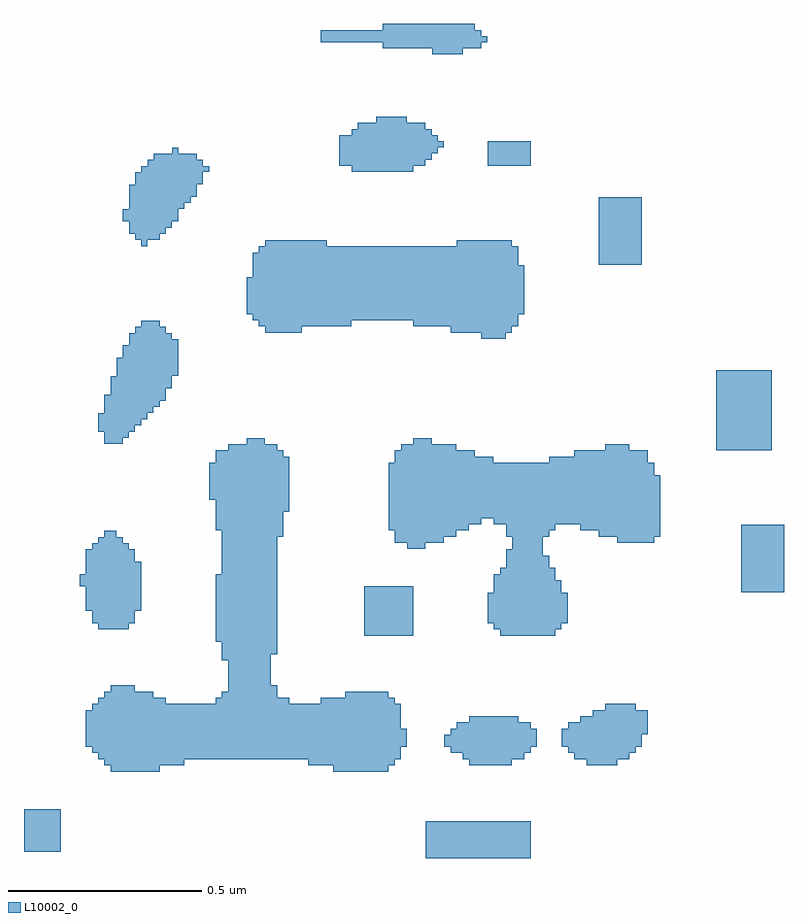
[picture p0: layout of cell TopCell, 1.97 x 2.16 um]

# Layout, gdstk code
import gdstk
lib = gdstk.Library(unit=1e-6, precision=1e-09)
def R(c, l, rs):  # rectangles x0, y0, x1, y1
    for r in rs: c.add(gdstk.rectangle(r[:2], r[2:], *l))
L10002_0 = (10002, 0)

topcell = lib.new_cell('TopCell')
R(topcell, L10002_0, [(2.08,1.024,2.351,1.119), (1.04,1.04,1.135,1.151), (1.264,1.248,1.391,1.264), (1.84,1.248,1.983,1.264), (1.248,1.264,1.455,1.28), (1.776,1.264,1.999,1.28), (2.192,1.264,2.303,1.28), (2.496,1.264,2.575,1.28), (1.232,1.28,2.015,1.296), (2.176,1.28,2.335,1.296), (2.464,1.28,2.607,1.296), (1.216,1.296,2.015,1.312), (2.144,1.296,2.351,1.312), (2.448,1.296,2.623,1.312), (1.2,1.312,2.031,1.359), (2.128,1.312,2.367,1.343), (2.432,1.312,2.639,1.359), (2.144,1.343,2.367,1.359), (2.639,1.344,2.655,1.359), (1.2,1.359,2.015,1.407), (2.16,1.359,2.351,1.375), (2.448,1.359,2.655,1.375), (2.192,1.375,2.319,1.391), (2.48,1.375,2.655,1.391), (2.512,1.391,2.655,1.407), (1.216,1.407,2.015,1.423), (2.544,1.407,2.623,1.423), (1.232,1.423,1.407,1.439), (1.536,1.423,1.727,1.439), (1.808,1.423,1.999,1.439), (1.248,1.439,1.375,1.455), (1.552,1.439,1.695,1.455), (1.872,1.439,1.983,1.455), (1.264,1.455,1.327,1.471), (1.568,1.455,1.695,1.471), (1.568,1.471,1.679,1.536), (1.552,1.536,1.679,1.584), (1.679,1.552,1.695,1.584), (1.536,1.584,1.695,1.759), (1.92,1.6,2.047,1.727), (2.272,1.6,2.415,1.616), (1.232,1.616,1.311,1.632), (2.256,1.616,2.431,1.632), (1.216,1.632,1.327,1.664), (2.24,1.632,2.447,1.711), (1.2,1.664,1.343,1.728), (2.256,1.711,2.431,1.743), (2.896,1.712,3.007,1.887), (1.184,1.728,1.343,1.759), (2.256,1.743,2.415,1.759), (1.2,1.759,1.343,1.791), (1.552,1.759,1.695,1.872), (2.272,1.759,2.415,1.775), (2.288,1.775,2.399,1.807), (1.2,1.791,1.327,1.823), (2.288,1.807,2.383,1.823), (1.216,1.823,1.311,1.839), (2.304,1.823,2.383,1.856), (2.032,1.824,2.079,1.84), (1.232,1.839,1.295,1.855), (2,1.84,2.127,1.872), (2.576,1.84,2.671,1.856), (1.248,1.855,1.279,1.871), (1.695,1.856,1.711,1.872), (2.127,1.856,2.159,1.872), (2.288,1.856,2.399,1.888), (2.528,1.856,2.687,1.872), (1.536,1.872,1.711,1.952), (1.984,1.872,2.191,2.047), (2.399,1.872,2.415,1.888), (2.48,1.872,2.687,1.888), (2.191,1.888,2.223,2.047), (2.256,1.888,2.687,1.904), (2.223,1.904,2.687,2.015), (1.711,1.92,1.727,1.952), (1.52,1.952,1.727,2.047), (2.223,2.015,2.671,2.047), (1.536,2.047,1.727,2.063), (2,2.047,2.255,2.063), (2.4,2.047,2.655,2.063), (1.536,2.063,1.711,2.079), (2,2.063,2.207,2.079), (2.464,2.063,2.655,2.079), (1.568,2.079,1.695,2.095), (2.016,2.079,2.159,2.095), (2.544,2.079,2.607,2.095), (2.832,2.08,2.975,2.287), (1.616,2.095,1.663,2.111), (2.048,2.095,2.095,2.111), (1.248,2.096,1.295,2.128), (1.295,2.112,1.311,2.128), (1.232,2.128,1.327,2.175), (1.327,2.144,1.343,2.175), (1.343,2.16,1.359,2.175), (1.248,2.175,1.359,2.223), (1.359,2.176,1.375,2.223), (1.375,2.192,1.391,2.223), (1.391,2.208,1.407,2.223), (1.264,2.223,1.407,2.271), (1.407,2.24,1.423,2.271), (1.28,2.271,1.423,2.319), (1.423,2.272,1.439,2.319), (1.296,2.319,1.439,2.351), (1.312,2.351,1.439,2.367), (1.312,2.367,1.423,2.383), (2.224,2.368,2.287,2.384), (1.328,2.383,1.407,2.399), (1.664,2.384,1.759,2.4), (2.144,2.384,2.303,2.4), (1.344,2.399,1.391,2.415), (1.648,2.4,1.887,2.416), (2.048,2.4,2.319,2.416), (1.632,2.416,2.319,2.432), (1.616,2.432,2.335,2.527), (1.632,2.527,2.335,2.559), (1.632,2.559,2.319,2.591), (2.528,2.56,2.639,2.735), (1.648,2.591,2.319,2.607), (1.664,2.607,1.823,2.623), (2.16,2.607,2.303,2.623), (1.344,2.608,1.359,2.624), (1.328,2.624,1.391,2.64), (1.312,2.64,1.407,2.672), (1.407,2.656,1.423,2.672), (1.296,2.672,1.439,2.703), (1.312,2.703,1.439,2.767), (1.439,2.704,1.455,2.767), (1.455,2.72,1.471,2.767), (1.471,2.736,1.487,2.767), (1.328,2.767,1.487,2.799), (1.487,2.768,1.503,2.799), (1.344,2.799,1.503,2.815), (1.503,2.8,1.519,2.815), (1.888,2.8,2.047,2.816), (1.36,2.815,1.503,2.831), (1.856,2.816,2.079,2.895), (2.24,2.816,2.351,2.879), (1.376,2.831,1.487,2.847), (2.079,2.832,2.095,2.895), (1.424,2.847,1.439,2.863), (2.095,2.848,2.111,2.895), (2.111,2.864,2.127,2.879), (1.888,2.895,2.095,2.911), (1.904,2.911,2.079,2.927), (1.952,2.927,2.031,2.943), (2.096,3.104,2.175,3.12), (1.968,3.12,2.223,3.136), (1.808,3.136,2.239,3.151), (1.808,3.151,2.223,3.167), (1.968,3.167,2.207,3.183)])

lib.write_gds('TopCell.gds')
